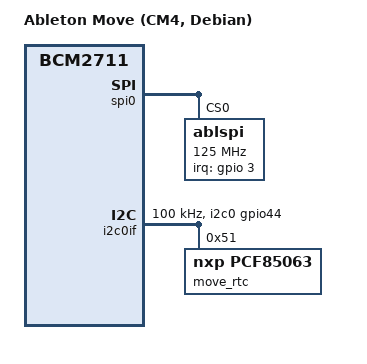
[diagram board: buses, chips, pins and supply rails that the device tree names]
// SPDX-License-Identifier: GPL-2.0-or-later
/*
 * ablspi-move-cm4.dts - Device-tree overlay porting the Ableton Move's
 * custom bindings to a stock Raspberry Pi CM4 (BCM2711) running upstream
 * Debian arm64 + the standard rpi-6.x kernel.
 *
 * This is the CM4 sibling of ablspi-move-cm5.dts. It re-creates exactly
 * what the original Ableton-supplied ablspi.dtbo did on the CM4 image,
 * but in a form that drops in next to the upstream RPi overlay set:
 *
 *   1. &spi0 chip-select 0 becomes the XMOS link: compatible "ablspi",
 *      irq-gpio = 3, max 125 MHz (driver clocks at 20 MHz by default).
 *   2. &spi0 chip-select 1 disabled.
 *   3. SPI0 pinctrl gets an extra pin group covering GPIOs 40-43, which
 *      the Move carrier wires to additional XMOS handshake/strobe lines.
 *      Mirrors the legacy `spi2_pins` group used by the original overlay.
 *   4. PCF85063 RTC on &i2c1 address 0x51.
 *   5. dwc2 USB OTG in peripheral mode for the NCM gadget.
 *
 * Build:   dtc -@ -W no-gpios_property -I dts -O dtb \
 *              -o ablspi-move-cm4.dtbo ablspi-move-cm4.dts
 * Install: copy to /boot/firmware/overlays/ then add
 *              dtoverlay=ablspi-move-cm4
 *          to /boot/firmware/config.txt. Overrides:
 *              dtoverlay=ablspi-move-cm4,ablspi_irq_gpio=3
 *              dtoverlay=ablspi-move-cm4,ablspi_max_hz=20000000
 *              dtoverlay=ablspi-move-cm4,rtc_addr=0x51
 */

/dts-v1/;
/plugin/;

/ {
	compatible = "brcm,bcm2711";

	fragment@0 {
		target-path = "/";
		__overlay__ {
			compatible = "ableton,move",
				     "raspberrypi,4-compute-module",
				     "brcm,bcm2711";
			model = "Ableton Move (CM4, Debian)";
		};
	};

	/*
	 * Add the XMOS-handshake pin group to the BCM2711 gpio controller.
	 * Pins 40-43 are repurposed by the Move carrier; pull is disabled so
	 * the XMOS-side push-pull drivers own the line state.
	 */
	fragment@1 {
		target = <&gpio>;
		__overlay__ {
			move_xmos_handshake_pins: move_xmos_handshake_pins {
				brcm,pins = <40 41 42 43>;
				brcm,function = <4>;	/* ALT0, matches stock spi2 pinmux */
				brcm,pull = <0>;
			};
		};
	};

	/*
	 * SPI0: ablspi on CS0, nothing on CS1. We delete the upstream spidev
	 * children so our binding wins regardless of overlay load order, and
	 * extend pinctrl-0 with the handshake group above.
	 */
	fragment@2 {
		target = <&spi0>;
		__overlay__ {
			#address-cells = <1>;
			#size-cells = <0>;
			status = "okay";
			pinctrl-names = "default";
			pinctrl-0 = <&spi0_pins>, <&spi0_cs_pins>,
				    <&move_xmos_handshake_pins>;

			/delete-node/ spidev@0;
			/delete-node/ spidev@1;

			ablspi: ablspi@0 {
				compatible = "ablspi";
				reg = <0>;
				spi-max-frequency = <125000000>;

				/*
				 * Modern descriptor-based GPIO binding via
				 * phandle. Driver uses devm_gpiod_get(dev,
				 * "irq", GPIOD_IN) which resolves through
				 * this property regardless of the gpiochip
				 * base offset (Armbian 6.18 bases at 512;
				 * legacy gpio_request(3,...) fails there).
				 */
				irq-gpios = <&gpio 3 0>;
			};

			ablspi_cs1: spidev@1 {
				compatible = "spidev";
				reg = <1>;
				spi-max-frequency = <125000000>;
				status = "disabled";
			};
		};
	};

	/*
	 * PCF85063 RTC on i2c0 routed to GPIO 44 (SDA) / GPIO 45 (SCL) via
	 * the stock upstream `i2c0_gpio44` pinctrl group (ALT1 function).
	 * This is the same pinmux Ableton uses on the production Move
	 * (verified: /sys/.../i2c@7e205000/pinctrl-0 phandle resolves to
	 * &i2c0_gpio44 with brcm,pins=<44 45> brcm,function=<5> on hardware).
	 *
	 * Critically, GPIO 44/45 are entirely separate from:
	 *   - GPIO 2/3 (default I2C1 pinmux - GPIO 3 is our ablspi IRQ)
	 *   - GPIO 7-11 (SPI0)
	 *   - GPIO 40-43 (XMOS handshake)
	 * so there is no driver contention.
	 *
	 * We also force the i2c0mux off; on stock RPi DTBs it owns BSC0 and
	 * lets userspace switch the bus between camera/display I2C paths,
	 * which we don't want when the RTC is sitting on it.
	 */
	fragment@4 {
		target = <&i2c0mux>;
		__overlay__ {
			status = "disabled";
		};
	};

	fragment@5 {
		/*
		 * Target &i2c0if, NOT &i2c0. In Armbian's BCM2711 base DTB:
		 *   i2c0if  -> /soc/i2c@7e205000  (the actual BSC0 controller)
		 *   i2c0    -> /soc/i2c0mux/i2c@0 (a mux child node, wrong target)
		 * Using &i2c0 caused the overlay fixup to land on the mux child,
		 * which has no status property to flip and silently failed to
		 * apply the RTC subnode.
		 */
		target = <&i2c0if>;
		__overlay__ {
			#address-cells = <1>;
			#size-cells = <0>;
			status = "okay";
			pinctrl-names = "default";
			pinctrl-0 = <&i2c0_gpio44>;
			clock-frequency = <100000>;

			move_rtc: rtc@51 {
				compatible = "nxp,pcf85063";
				reg = <0x51>;
				status = "okay";
			};
		};
	};

	/*
	 * dwc2 OTG: NOT configured here. Armbian's BCM2711 base DTB does
	 * not expose a `&dwc2` label - the USB controller has a single
	 * `&usb` label and the dwc2 vs xhci personality is selected via
	 * Pi firmware's runtime mechanism: `dtoverlay=dwc2,dr_mode=otg`
	 * in /boot/firmware/config.txt. Our move.csc's zzz_move_finalise
	 * hook adds that line for [cm4] sections AND strips the family's
	 * `otg_mode=1` (which would force xhci/host-only mode).
	 *
	 * Attempting `target = <&dwc2>` here previously caused the entire
	 * overlay to silently fail-to-apply because the firmware couldn't
	 * resolve the missing label, dropping our ablspi node along with it.
	 */

	__overrides__ {
		ablspi_irq_gpio = <&ablspi>,"irq-gpio:0";
		ablspi_max_hz   = <&ablspi>,"spi-max-frequency:0";
		rtc_addr        = <&move_rtc>,"reg:0";
	};
};
